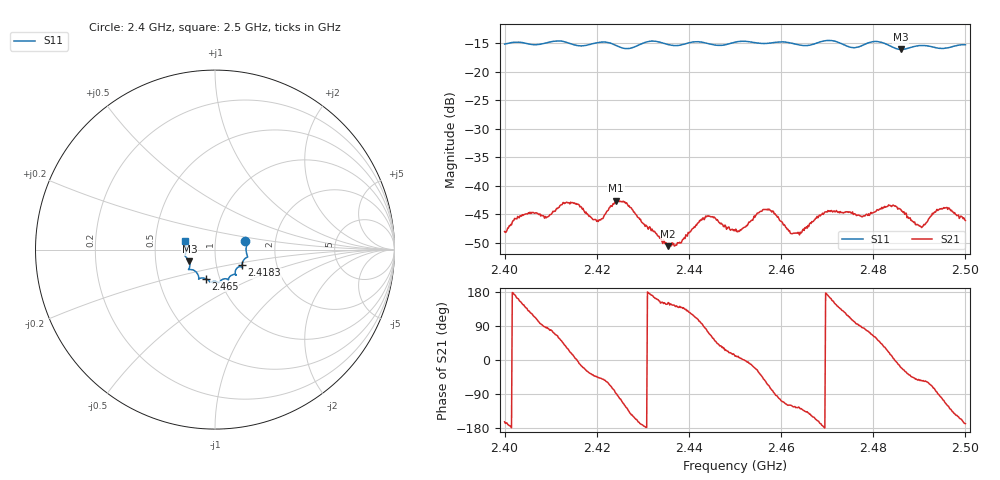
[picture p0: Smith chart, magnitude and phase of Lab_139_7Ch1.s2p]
# Hz S RI R 50
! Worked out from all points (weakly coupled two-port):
!   601 points, 2.4 GHz to 2.5 GHz, reference 50 ohm
!   highest |S21| = -42.62 dB at 2.4242 GHz (marker M1); lowest = -50.6 dB at 2.4355 GHz (marker M2)
!   lowest |S11| = -16.1 dB at 2.486 GHz (marker M3), VSWR 1.37, Z = 37.2 - j4.97 ohm
!   |S11| at or under -10 dB: start of sweep to end of sweep
!   S12 and S22 are empty: the file has one direction only
!   S11 on the Smith chart (normalised r, x): 2.4 GHz: 1.40, +0.14; 2.4183 GHz: 1.33, -0.24; 2.465 GHz: 0.86, -0.29; 2.5 GHz: 0.71, +0.07
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2.4e9  0.1689 0.0469  -0.00378 -0.00115  0 0  0 0
2.405e9  0.1755 0.0191  -0.00378 0.00418  0 0  0 0
2.416667e9  0.1545 -0.0683  0.00624 -0.00176  0 0  0 0
2.418333e9  0.1498 -0.0869  0.00445 -0.00299  0 0  0 0
2.420833e9  0.1525 -0.0997  0.00334 -0.0037  0 0  0 0
2.424167e9  0.1416 -0.095  0.000279 -0.00739  0 0  0 0
2.426167e9  0.1243 -0.1013  -0.0037 -0.00613  0 0  0 0
2.433333e9  0.1174 -0.1409  -0.00336 0.00129  0 0  0 0
2.4355e9  0.1047 -0.1385  -0.00259 0.00139  0 0  0 0
2.444e9  0.0686 -0.164  0.00135 0.00522  0 0  0 0
2.45e9  0.0263 -0.1803  0.00394 0.000704  0 0  0 0
2.4565e9  -0.00509 -0.1773  0.00358 -0.00504  0 0  0 0
2.462167e9  -0.0319 -0.1761  -0.00186 -0.0033  0 0  0 0
2.465e9  -0.0525 -0.1616  -0.00279 -0.00292  0 0  0 0
2.466667e9  -0.0714 -0.1578  -0.00408 -0.00259  0 0  0 0
2.47e9  -0.0913 -0.1649  -0.0058 0.000772  0 0  0 0
2.477667e9  -0.1294 -0.1117  0.000418 0.00531  0 0  0 0
2.483333e9  -0.1414 -0.0968  0.00634 0.00237  0 0  0 0
2.486e9  -0.143 -0.0651  0.00579 -0.00208  0 0  0 0
2.490333e9  -0.1665 -0.0363  0.00262 -0.00349  0 0  0 0
2.4955e9  -0.1604 0.00961  -0.00229 -0.00591  0 0  0 0
2.5e9  -0.1667 0.0464  -0.00483 -0.00103  0 0  0 0
